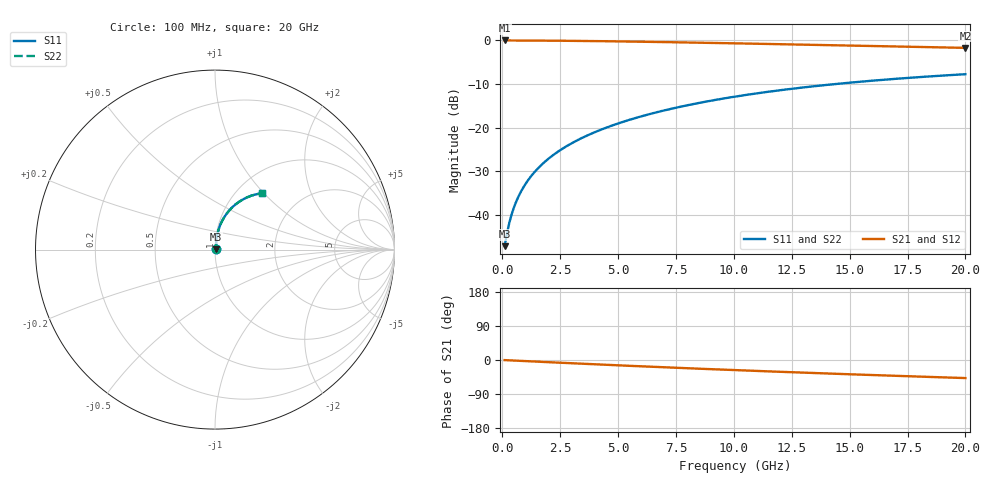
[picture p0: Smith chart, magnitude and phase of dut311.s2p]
! Touchstone file exported from HFSS 2024.1.0
!  File:  C:/UserFiles/LocalFiles/RDL_TSV_Batchsim/temp_RDL_top_311_1779606548.aedt
!  Generated:  03:11:31 PM May 24, 2026
!  Design:  RDL_top
!  Project:  temp_RDL_top_311_1779606548
!  Setup:  Setup1
!  Solution:  Sweep
! Variables:
!  dtsv = 10.80580581um
!  hbump = 3um
!  htsv = 78.1um
!  ldown = 100um
!  lrdl = 695.05um
!  p = 40
!  p1 = 46.83um
!  rhole = 1um
!  t = 450um
!  tdown = 3.915915916um
!  trdl = 3.54um
!  wdown = 15.38538539um
!  wrdl = 19.84um
# GHz S MA R 50.000000
! Terminal data exported
! Port[1] = Box2_T1
! Port[2] = Box2_T2
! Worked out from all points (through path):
!   200 points, 100 MHz to 20 GHz, reference 50 ohm
!   highest |S21| = -0.03 dB at 100 MHz (marker M1); lowest = -1.7 dB at 20 GHz (marker M2)
!   group delay of S21, straight-line fit = 6.59 ps
!   lowest |S11| = -47.1 dB at 100 MHz (marker M3), VSWR 1.01, Z = 50.4 + j0.244 ohm
!   |S11| at or under -10 dB: start of sweep to 14.41 GHz
!   |S22| runs from -47.1 to -7.8 dB; largest |S21 - S12| = 9.2e-15
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0.1  0.004398 33.4  0.9963 -0.3  0.9963 -0.3  0.004398 33.4
! Gamma 0 0 0 0
! Port Impedance 50 0 50 0
0.2  0.006117 51.1  0.9961 -0.6  0.9961 -0.6  0.006117 51.1
0.3  0.008089 60.0  0.9959 -0.9  0.9959 -0.9  0.008089 60.0
0.4  0.01012 65.3  0.9957 -1.2  0.9957 -1.2  0.01012 65.3
0.5  0.01216 68.9  0.9955 -1.5  0.9955 -1.5  0.01216 68.9
0.6  0.01422 71.5  0.9953 -1.8  0.9953 -1.8  0.01422 71.5
0.8  0.01839 75.0  0.9949 -2.3  0.9949 -2.3  0.01839 75.0
1.1  0.02475 78.0  0.9942 -3.2  0.9942 -3.2  0.02475 78.0
1.3  0.02903 79.2  0.9937 -3.8  0.9937 -3.8  0.02903 79.2
1.6  0.03551 80.4  0.9927 -4.6  0.9927 -4.6  0.03551 80.4
2.1  0.04643 81.4  0.9908 -6.1  0.9908 -6.1  0.04642 81.4
2.7  0.05967 81.7  0.988 -7.7  0.988 -7.7  0.05967 81.8
3.5  0.07756 81.5  0.9833 -10.0  0.9833 -10.0  0.07756 81.5
4.2  0.0934 80.9  0.9785 -11.9  0.9785 -11.9  0.09339 80.9
5  0.1117 79.9  0.9723 -14.1  0.9723 -14.1  0.1117 79.9
6.8  0.1531 77.0  0.9563 -18.7  0.9563 -18.7  0.1531 77.0
8.4  0.1897 73.9  0.9406 -22.7  0.9406 -22.7  0.1897 73.9
10.1  0.2277 70.4  0.9231 -26.8  0.9231 -26.8  0.2277 70.4
11.7  0.2621 67.0  0.9062 -30.5  0.9062 -30.5  0.2621 67.0
13.4  0.2967 63.4  0.8881 -34.2  0.8881 -34.2  0.2968 63.4
16.7  0.3575 56.6  0.8531 -41.2  0.8531 -41.2  0.3576 56.6
20  0.4094 50.1  0.8194 -47.7  0.8194 -47.7  0.4094 50.1
